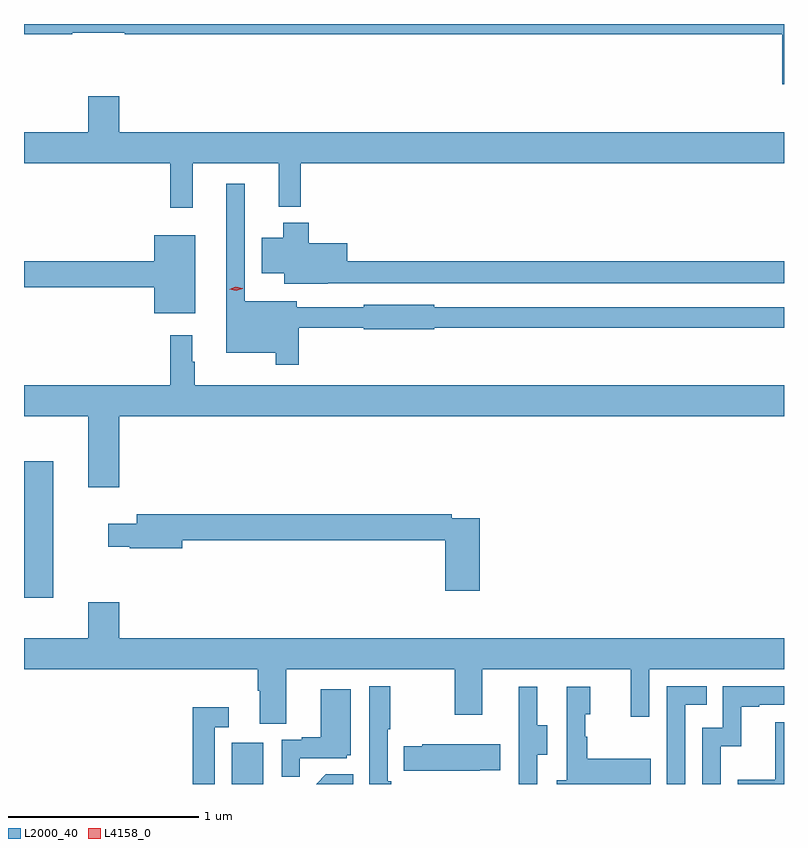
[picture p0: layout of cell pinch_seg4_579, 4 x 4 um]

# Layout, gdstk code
import gdstk
lib = gdstk.Library(unit=1e-6, precision=1e-09)
def R(c, l, rs):  # rectangles x0, y0, x1, y1
    for r in rs: c.add(gdstk.rectangle(r[:2], r[2:], *l))
def P(c, l, *ps):  # polygons
    for p in ps: c.add(gdstk.Polygon(p, *l))
L2000_40 = (2000, 40)
L4158_0 = (4158, 0)

pinch_seg4_579 = lib.new_cell('pinch_seg4_579')
R(pinch_seg4_579, L2000_40, [(1064.864,786.893,1065.028,787.111), (1063.77,787.872,1063.924,788.593)])
P(pinch_seg4_579, L2000_40, [(1067.77,790.893),(1063.77,790.893),(1063.77,790.84),(1064.024,790.84),(1064.024,790.848),(1064.301,790.848),(1064.301,790.84),(1067.762,790.84),(1067.762,790.575),(1067.77,790.575)],
  [(1064.657,790.16),(1065.11,790.16),(1065.11,789.932),(1065.227,789.932),(1065.227,790.16),(1067.77,790.16),(1067.77,790.324),(1064.272,790.324),(1064.272,790.513),(1064.108,790.513),(1064.108,790.324),(1063.77,790.324),(1063.77,790.16),(1064.539,790.16),(1064.539,789.927),(1064.657,789.927)],
  [(1065.217,789.294),(1065.558,789.294),(1065.558,789.286),(1065.93,789.286),(1065.93,789.294),(1067.77,789.294),(1067.77,789.402),(1065.93,789.402),(1065.93,789.415),(1065.558,789.415),(1065.558,789.402),(1065.205,789.402),(1065.205,789.433),(1064.931,789.433),(1064.931,790.051),(1064.834,790.051),(1064.834,789.164),(1065.096,789.164),(1065.096,789.099),(1065.217,789.099)],
  [(1065.368,789.528),(1067.77,789.528),(1067.77,789.644),(1065.472,789.644),(1065.472,789.739),(1065.269,789.739),(1065.269,789.847),(1065.134,789.847),(1065.134,789.769),(1065.02,789.769),(1065.02,789.581),(1065.14,789.581),(1065.14,789.527),(1065.368,789.527)],
  [(1064.671,789.781),(1064.456,789.781),(1064.456,789.644),(1063.77,789.644),(1063.77,789.508),(1064.456,789.508),(1064.456,789.371),(1064.671,789.371)],
  [(1064.272,788.828),(1067.77,788.828),(1067.77,788.992),(1064.668,788.992),(1064.668,789.116),(1064.656,789.116),(1064.656,789.256),(1064.539,789.256),(1064.539,788.992),(1063.77,788.992),(1063.77,788.828),(1064.108,788.828),(1064.108,788.454),(1064.272,788.454)],
  [(1066.169,788.292),(1066.022,788.292),(1066.022,788.312),(1064.363,788.312),(1064.363,788.263),(1064.214,788.263),(1064.214,788.141),(1064.326,788.141),(1064.326,788.134),(1064.602,788.134),(1064.602,788.176),(1065.986,788.176),(1065.986,787.911),(1066.169,787.911)],
  [(1065.151,787.496),(1066.036,787.496),(1066.036,787.257),(1066.183,787.257),(1066.183,787.496),(1066.964,787.496),(1066.964,787.248),(1067.061,787.248),(1067.061,787.496),(1067.77,787.496),(1067.77,787.66),(1064.272,787.66),(1064.272,787.849),(1064.108,787.849),(1064.108,787.66),(1063.77,787.66),(1063.77,787.496),(1064.999,787.496),(1064.999,787.384),(1065.011,787.384),(1065.011,787.21),(1065.151,787.21)],
  [(1065.704,786.907),(1065.684,786.907),(1065.684,787.18),(1065.697,787.18),(1065.697,787.408),(1065.588,787.408),(1065.588,786.893),(1065.704,786.893)],
  [(1067.25,787.311),(1067.363,787.311),(1067.363,787.407),(1067.154,787.407),(1067.154,786.893),(1067.25,786.893)],
  [(1067.436,787.091),(1067.546,787.091),(1067.546,787.299),(1067.641,787.299),(1067.641,787.311),(1067.77,787.311),(1067.77,787.407),(1067.448,787.407),(1067.448,787.188),(1067.34,787.188),(1067.34,786.893),(1067.436,786.893)],
  [(1066.47,787.048),(1066.525,787.048),(1066.525,787.203),(1066.471,787.203),(1066.471,787.405),(1066.373,787.405),(1066.373,787.191),(1066.374,787.191),(1066.374,786.893),(1066.47,786.893)],
  [(1067.069,787.027),(1066.735,787.027),(1066.735,787.142),(1066.725,787.142),(1066.725,787.26),(1066.75,787.26),(1066.75,787.405),(1066.626,787.405),(1066.626,786.914),(1066.575,786.914),(1066.575,786.893),(1067.069,786.893)],
  [(1065.221,787.029),(1065.468,787.029),(1065.468,787.044),(1065.49,787.044),(1065.49,787.393),(1065.332,787.393),(1065.332,787.138),(1065.233,787.138),(1065.233,787.125),(1065.126,787.125),(1065.126,786.931),(1065.221,786.931)],
  [(1064.775,787.191),(1064.848,787.191),(1064.848,787.297),(1064.659,787.297),(1064.659,786.893),(1064.775,786.893)],
  [(1067.77,787.219),(1067.725,787.219),(1067.725,786.916),(1067.526,786.916),(1067.526,786.893),(1067.77,786.893)],
  [(1066.169,786.965),(1066.277,786.965),(1066.277,787.102),(1065.867,787.102),(1065.867,787.092),(1065.769,787.092),(1065.769,786.962),(1066.169,786.962)],
  [(1065.503,786.944),(1065.359,786.944),(1065.308,786.893),(1065.503,786.893)])
P(pinch_seg4_579, L4158_0, [(1064.886,789.489),(1064.85,789.497),(1064.85,789.497),(1064.85,789.497),(1064.885,789.509),(1064.92,789.501),(1064.921,789.501),(1064.92,789.5)])

lib.write_gds('pinch_seg4_579.gds')
